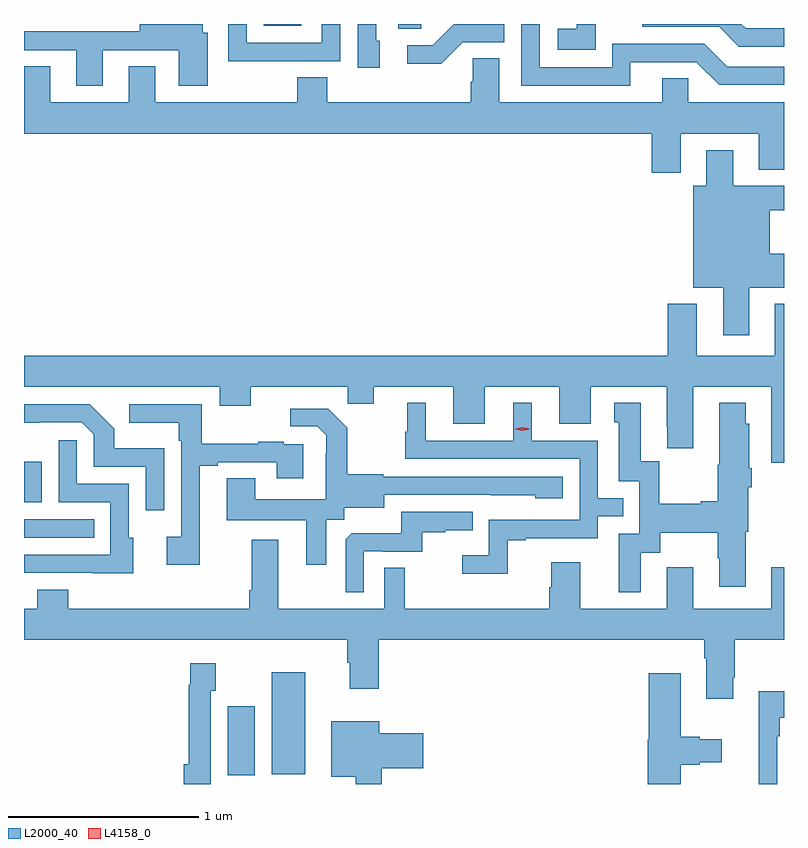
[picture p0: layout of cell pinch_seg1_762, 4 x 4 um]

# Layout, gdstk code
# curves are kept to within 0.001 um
import gdstk
lib = gdstk.Library(unit=1e-6, precision=1e-09)
def R(c, l, rs):  # rectangles x0, y0, x1, y1
    for r in rs: c.add(gdstk.rectangle(r[:2], r[2:], *l))
def P(c, l, *ps):  # polygons
    for p in ps: c.add(gdstk.Polygon(p, *l))
L2000_40 = (2000, 40)
L4158_0 = (4158, 0)

pinch_seg1_762 = lib.new_cell('pinch_seg1_762')
R(pinch_seg1_762, L2000_40, [(502.793,552.352,502.936,552.715), (503.024,552.356,503.2,552.892), (501.721,553.602,502.091,553.698), (501.721,553.787,501.814,554.002), (503.69,556.279,503.811,556.305), (502.982,556.295,503.179,556.305)])
P(pinch_seg1_762, L2000_40, [(504.913,556.104),(505.26,556.104),(505.38,555.984),(505.721,555.984),(505.721,556.08),(505.422,556.08),(505.302,556.2),(504.816,556.2),(504.816,556.077),(504.435,556.077),(504.435,556.305),(504.339,556.305),(504.339,555.981),(504.913,555.981)],
  [(502.135,556.167),(502.535,556.167),(502.535,555.981),(502.687,555.981),(502.687,556.26),(502.663,556.26),(502.663,556.305),(502.331,556.305),(502.331,556.268),(501.721,556.268),(501.721,556.167),(501.995,556.167),(501.995,555.981),(502.135,555.981)],
  [(504.729,556.305),(504.629,556.305),(504.629,556.279),(504.531,556.279),(504.531,556.169),(504.729,556.169)],
  [(503.069,556.11),(503.385,556.11),(503.385,556.305),(503.289,556.305),(503.289,556.206),(502.893,556.206),(502.893,556.305),(502.797,556.305),(502.797,556.109),(503.069,556.109)],
  [(504.03,556.209),(504.249,556.209),(504.249,556.305),(503.984,556.305),(503.873,556.194),(503.739,556.194),(503.739,556.097),(503.917,556.097)],
  [(505.721,556.282),(505.52,556.282),(505.497,556.305),(504.976,556.305),(504.976,556.29),(505.379,556.29),(505.484,556.185),(505.721,556.185)],
  [(503.593,556.218),(503.574,556.218),(503.574,556.305),(503.478,556.305),(503.478,556.074),(503.593,556.074)],
  [(505.177,555.728),(505.589,555.728),(505.589,555.539),(505.721,555.539),(505.721,555.892),(505.218,555.892),(505.218,556.019),(505.079,556.019),(505.079,555.892),(504.223,555.892),(504.223,556.124),(504.084,556.124),(504.084,556.001),(504.071,556.001),(504.071,555.892),(503.318,555.892),(503.318,556.025),(503.158,556.025),(503.158,555.892),(502.411,555.892),(502.411,556.082),(502.271,556.082),(502.271,555.892),(501.859,555.892),(501.859,556.082),(501.721,556.082),(501.721,555.728),(505.025,555.728),(505.025,555.522),(505.177,555.522)],
  [(505.537,554.918),(505.721,554.918),(505.721,555.097),(505.645,555.097),(505.645,555.326),(505.721,555.326),(505.721,555.454),(505.453,555.454),(505.453,555.64),(505.313,555.64),(505.313,555.454),(505.244,555.454),(505.244,554.918),(505.4,554.918),(505.4,554.667),(505.537,554.667)],
  [(505.721,554.833),(505.673,554.833),(505.673,554.56),(505.261,554.56),(505.261,554.833),(505.109,554.833),(505.109,554.56),(501.721,554.56),(501.721,554.396),(502.751,554.396),(502.751,554.297),(502.915,554.297),(502.915,554.396),(503.425,554.396),(503.425,554.306),(503.563,554.306),(503.563,554.396),(503.981,554.396),(503.981,554.202),(504.145,554.202),(504.145,554.396),(504.539,554.396),(504.539,554.202),(504.703,554.202),(504.703,554.396),(505.103,554.396),(505.103,554.185),(505.106,554.185),(505.106,554.073),(505.243,554.073),(505.243,554.396),(505.655,554.396),(505.655,553.995),(505.721,553.995)],
  [(504.967,553.522),(505.069,553.522),(505.069,553.628),(505.372,553.628),(505.372,553.494),(505.379,553.494),(505.379,553.344),(505.519,553.344),(505.519,553.632),(505.532,553.632),(505.532,553.866),(505.55,553.866),(505.55,553.966),(505.537,553.966),(505.537,554.202),(505.519,554.202),(505.519,554.311),(505.379,554.311),(505.379,553.985),(505.372,553.985),(505.372,553.793),(505.283,553.793),(505.283,553.78),(505.065,553.78),(505.065,554.003),(504.967,554.003),(504.967,554.311),(504.827,554.311),(504.827,554.208),(504.851,554.208),(504.851,553.899),(504.96,553.899),(504.96,553.623),(504.851,553.623),(504.851,553.314),(504.967,553.314)],
  [(504.267,553.587),(504.361,553.587),(504.361,553.599),(504.741,553.599),(504.741,553.713),(504.875,553.713),(504.875,553.809),(504.741,553.809),(504.741,554.112),(504.394,554.112),(504.394,554.311),(504.296,554.311),(504.296,554.112),(503.836,554.112),(503.836,554.311),(503.738,554.311),(503.738,554.16),(503.727,554.16),(503.727,554.016),(504.645,554.016),(504.645,553.695),(504.168,553.695),(504.168,553.51),(504.027,553.51),(504.027,553.412),(504.267,553.412)],
  [(502.645,553.98),(502.741,553.98),(502.741,553.998),(503.051,553.998),(503.051,553.914),(503.191,553.914),(503.191,554.094),(503.087,554.094),(503.087,554.107),(502.955,554.107),(502.955,554.096),(502.657,554.096),(502.657,554.304),(502.275,554.304),(502.275,554.207),(502.536,554.207),(502.536,554.111),(502.548,554.111),(502.548,553.606),(502.473,553.606),(502.473,553.458),(502.645,553.458)],
  [(502.458,554.071),(502.197,554.071),(502.197,554.174),(502.066,554.304),(501.721,554.304),(501.721,554.207),(502.026,554.208),(502.089,554.145),(502.089,553.974),(502.362,553.974),(502.362,553.746),(502.458,553.746)],
  [(503.311,553.696),(503.406,553.696),(503.406,553.76),(503.617,553.76),(503.617,553.827),(504.411,553.826),(504.411,553.808),(504.556,553.808),(504.556,553.923),(503.613,553.923),(503.613,553.936),(503.421,553.936),(503.421,554.181),(503.321,554.281),(503.121,554.281),(503.121,554.187),(503.265,554.187),(503.312,554.14),(503.312,554.045),(503.31,554.045),(503.31,553.804),(502.939,553.804),(502.939,553.913),(502.787,553.913),(502.787,553.694),(503.207,553.694),(503.207,553.458),(503.311,553.458)],
  [(502.297,553.602),(502.272,553.602),(502.272,553.884),(501.999,553.884),(501.999,554.113),(501.903,554.113),(501.903,553.788),(502.176,553.788),(502.176,553.512),(501.721,553.512),(501.721,553.416),(502.079,553.416),(502.079,553.415),(502.297,553.415)],
  [(503.508,553.53),(503.608,553.53),(503.608,553.527),(503.816,553.527),(503.816,553.629),(503.939,553.629),(503.939,553.64),(504.083,553.64),(504.083,553.737),(503.706,553.737),(503.706,553.625),(503.447,553.625),(503.415,553.593),(503.415,553.313),(503.508,553.313)],
  [(505.453,552.865),(505.461,552.865),(505.461,553.064),(505.721,553.064),(505.721,553.447),(505.655,553.447),(505.655,553.228),(505.243,553.228),(505.243,553.447),(505.103,553.447),(505.103,553.228),(504.649,553.228),(504.649,553.471),(504.497,553.471),(504.497,553.341),(504.485,553.341),(504.485,553.228),(503.725,553.228),(503.725,553.442),(503.616,553.442),(503.616,553.228),(503.059,553.228),(503.059,553.591),(502.919,553.591),(502.919,553.324),(502.907,553.324),(502.907,553.228),(501.955,553.228),(501.955,553.327),(501.791,553.327),(501.791,553.228),(501.721,553.228),(501.721,553.064),(503.423,553.064),(503.423,552.944),(503.435,552.944),(503.435,552.807),(503.588,552.807),(503.588,553.064),(505.301,553.064),(505.301,552.968),(505.313,552.968),(505.313,552.753),(505.453,552.753)],
  [(502.704,552.795),(502.731,552.795),(502.731,552.94),(502.596,552.94),(502.596,552.827),(502.588,552.827),(502.588,552.409),(502.562,552.409),(502.562,552.305),(502.704,552.305)],
  [(505.177,552.407),(505.277,552.407),(505.277,552.419),(505.393,552.419),(505.393,552.541),(505.277,552.541),(505.277,552.554),(505.177,552.554),(505.177,552.889),(505.01,552.889),(505.01,552.537),(505.004,552.537),(505.004,552.305),(505.177,552.305)],
  [(505.686,552.557),(505.699,552.557),(505.699,552.653),(505.721,552.653),(505.721,552.793),(505.589,552.793),(505.589,552.305),(505.686,552.305)],
  [(503.603,552.389),(503.821,552.389),(503.821,552.572),(503.59,552.572),(503.59,552.634),(503.339,552.634),(503.339,552.344),(503.468,552.344),(503.468,552.305),(503.603,552.305)])
P(pinch_seg1_762, L4158_0, [(504.345,554.163),(504.31,554.173),(504.309,554.173),(504.31,554.174),(504.345,554.183),(504.38,554.174),(504.38,554.173),(504.38,554.173)])

lib.write_gds('pinch_seg1_762.gds')
